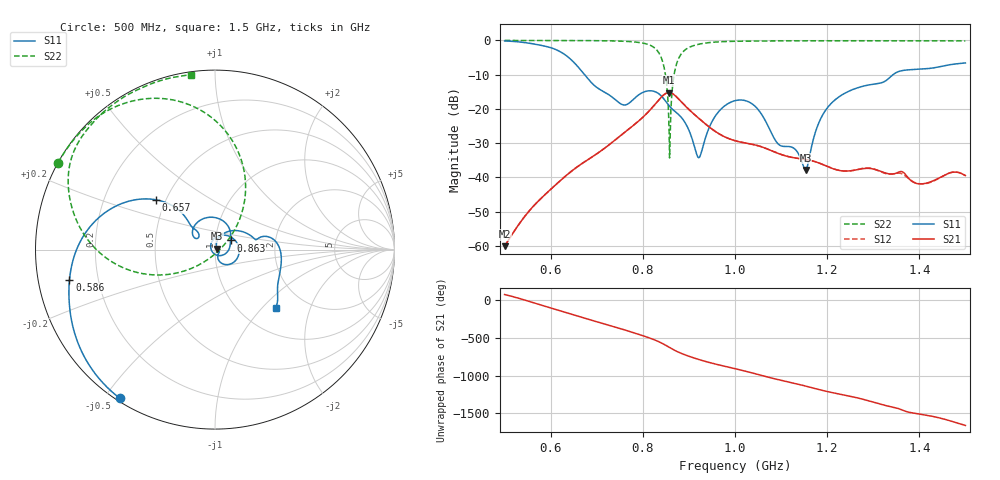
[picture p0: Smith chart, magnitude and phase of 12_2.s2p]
! TOUCHSTONE file generated by CST MICROWAVE STUDIO
! Date and time: Fri Oct  2 16:31:28 2020
! Project name: Scenario_1_Free_Space_out_of_line.cst
! Parameters = {Lambda=346.42; Step_1=17.321; dy1=156.889; dx1=346; L_HA=400; MT=2.54; Rad_Dielectric=30; Rad_Lower=7.3; Rad_Upper=30; a_HA=580; a_WG=246; b_HA=500; b_WG=121; c_HA=0; c_WG=187; d_feed=85; h_feed=15; h_lower=18; h_upper=40}
! Header version: 2018
! Port assignment regex: !\s*Touchstone port\s*([0-9]+)\s*=\s*(CST MWS port|CST DS port)\s*([0-9]+|Zmin|Zmax)\s*\(\"(.*)\"\)(\s*mode\s*([0-9]+))?.*
! Touchstone port assignment:
! Touchstone port 1 = CST MWS port 1 ("")
! Touchstone port 2 = CST MWS port 2 ("")
# GHz S DB R 50
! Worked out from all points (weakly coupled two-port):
!   1003 points, 500 MHz to 1.5 GHz, reference 50 ohm
!   highest |S21| = -15.21 dB at 857 MHz (marker M1); lowest = -60.1 dB at 500 MHz (marker M2)
!   lowest |S11| = -37.8 dB at 1.153 GHz (marker M3), VSWR 1.03, Z = 51.2 + j0.531 ohm
!   |S11| at or under -10 dB: 673.4 MHz to 1.343 GHz (669.5 MHz wide, 66.4 % of centre)
!   |S22| runs from -34.3 to 0.0 dB; largest |S21 - S12| = 0.00097
!   S11 on the Smith chart (normalised r, x): 500 MHz: 0.01, -0.55; 586 MHz: 0.09, -0.10; 657 MHz: 0.44, +0.30; 863 MHz: 1.18, +0.12; 1.5 GHz: 1.44, -1.20
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0.5  -0.15 -122.7  -60.07 71.0  -60.07 71.0  -0.01 151.1
0.586  -1.63 -168.1  -45.23 -80.6  -45.23 -80.6  -0.02 145.2
0.657  -7.36 139.7  -36.97 149.4  -36.97 149.4  -0.04 139.3
0.667  -8.94 135.0  -36.03 130.9  -36.03 130.9  -0.04 138.3
0.756  -18.77 141.1  -27.32 -27.6  -27.32 -27.6  -0.23 126.1
0.811  -14.74 116.2  -20.97 -135.3  -20.97 -135.3  -1.15 107.0
0.834  -15.51 76.0  -17.47 169.7  -17.47 169.7  -3.46 85.7
0.847  -17.32 52.2  -15.72 130.0  -15.71 130.0  -8.43 63.2
0.857  -19.09 38.0  -15.21 95.1  -15.21 95.1  -26.79 21.7
0.863  -19.95 30.6  -15.43 74.2  -15.43 74.2  -15.50 -141.4
0.867  -20.43 25.4  -15.77 60.8  -15.77 60.8  -10.66 -151.9
0.878  -21.69 7.7  -17.15 28.0  -17.15 28.0  -5.17 -171.2
0.921  -34.22 -145.6  -22.70 -66.0  -22.70 -66.0  -1.12 158.0
0.957  -22.14 75.7  -26.55 -126.6  -26.55 -126.6  -0.47 147.8
1  -17.59 7.7  -29.28 172.0  -29.28 172.0  -0.25 140.3
1.044  -19.28 -50.4  -30.53 104.8  -30.53 104.9  -0.18 135.0
1.153  -37.82 23.8  -34.75 -57.8  -34.75 -57.9  -0.10 125.3
1.167  -30.50 75.3  -35.13 -79.8  -35.14 -79.9  -0.10 124.2
1.216  -17.48 50.8  -37.60 -150.7  -37.56 -150.8  -0.08 120.4
1.334  -11.05 15.2  -38.96 35.5  -39.02 37.0  -0.09 111.5
1.402  -8.38 -17.3  -41.89 -68.3  -41.89 -68.3  -0.10 106.1
1.5  -6.57 -43.8  -39.47 141.8  -39.48 141.8  -0.14 98.0
